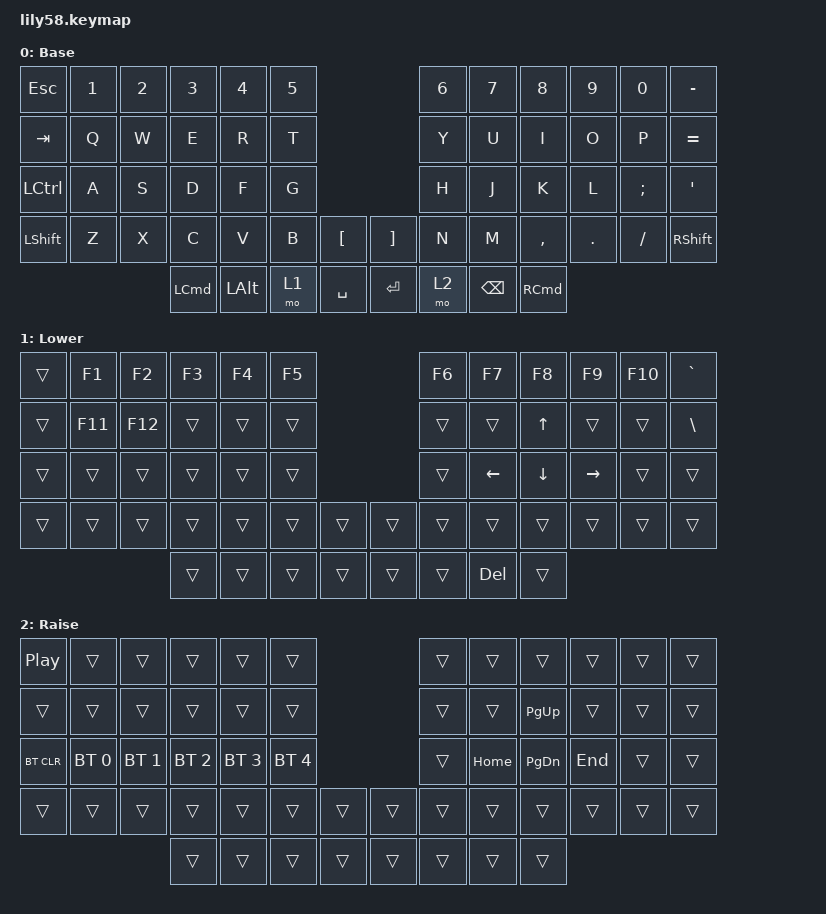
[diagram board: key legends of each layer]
/*
 * Copyright (c) 2020 The ZMK Contributors
 *
 * SPDX-License-Identifier: MIT
 */

#include <behaviors.dtsi>
#include <dt-bindings/zmk/bt.h>
#include <dt-bindings/zmk/keys.h>

/ {
    keymap {
        compatible = "zmk,keymap";

        default_layer {
            // ------------------------------------------------------------------------------------------------------------
            // |  ESC  |  1  |  2  |  3   |  4   |  5   |                   |  6   |  7    |  8    |  9   |   0   |   `   |
            // |  TAB  |  Q  |  W  |  E   |  R   |  T   |                   |  Y   |  U    |  I    |  O   |   P   |   -   |
            // |  CTRL |  A  |  S  |  D   |  F   |  G   |                   |  H   |  J    |  K    |  L   |   ;   |   '   |
            // | SHIFT |  Z  |  X  |  C   |  V   |  B   |   "["  |  |  "]"  |  N   |  M    |  ,    |  .   |   /   | SHIFT |
            //                     | ALT  | GUI  | LOWER|  SPACE |  | ENTER | RAISE| BSPC  | GUI   |

            display-name = "Base";
            bindings = <
&kp ESC         &kp N1  &kp N2  &kp N3            &kp N4        &kp N5                         &kp N6  &kp N7    &kp N8             &kp N9   &kp N0    &kp MINUS
&kp TAB         &kp Q   &kp W   &kp E             &kp R         &kp T                          &kp Y   &kp U     &kp I              &kp O    &kp P     &kp EQUAL
&kp LCTRL       &kp A   &kp S   &kp D             &kp F         &kp G                          &kp H   &kp J     &kp K              &kp L    &kp SEMI  &kp SQT
&kp LEFT_SHIFT  &kp Z   &kp X   &kp C             &kp V         &kp B   &kp LBKT     &kp RBKT  &kp N   &kp M     &kp COMMA          &kp DOT  &kp FSLH  &kp RIGHT_SHIFT
                                &kp LEFT_COMMAND  &kp LEFT_ALT  &mo 1   &kp SPACE    &kp RET   &mo 2   &kp BSPC  &kp RIGHT_COMMAND
            >;
        };

        lower_layer {
            // ------------------------------------------------------------------------------------------------------------
            // | BTCLR | BT1 | BT2 |  BT3 |  BT4 |  BT5 |                   |      |       |       |      |       |       |
            // |  F1   |  F2 |  F3 |  F4  |  F5  |  F6  |                   |  F7  |  F8   |  F9   |  F10 |  F11  |  F12  |
            // |   `   |  !  |  @  |  #   |  $   |  %   |                   |  ^   |  &    |  *    |  (   |   )   |   ~   |
            // |       |     |     |      |      |      |        |  |       |      |  _    |  +    |  {   |   }   |  "|"  |
            //                     |      |      |      |        |  |       |      |       |       |

            display-name = "Lower";
            bindings = <
&trans  &kp F1   &kp F2   &kp F3  &kp F4  &kp F5                    &kp F6  &kp F7      &kp F8    &kp F9     &kp F10  &kp GRAVE
&trans  &kp F11  &kp F12  &trans  &trans  &trans                    &trans  &trans      &kp UP    &trans     &trans   &kp BACKSLASH
&trans  &trans   &trans   &trans  &trans  &trans                    &trans  &kp LEFT    &kp DOWN  &kp RIGHT  &trans   &trans
&trans  &trans   &trans   &trans  &trans  &trans  &trans    &trans  &trans  &trans      &trans    &trans     &trans   &trans
                          &trans  &trans  &trans  &trans    &trans  &trans  &kp DELETE  &trans
            >;
        };

        raise_layer {
            // ------------------------------------------------------------------------------------------------------------
            // |       |     |     |      |      |      |                   |      |       |       |      |       |       |
            // |   `   |  1  |  2  |  3   |  4   |  5   |                   |  6   |   7   |   8   |  9   |   0   |       |
            // |   F1  |  F2 |  F3 |  F4  |  F5  |  F6  |                   |      |   <-  |   v   |  ^   |  ->   |       |
            // |   F7  |  F8 |  F9 |  F10 |  F11 |  F12 |        |  |       |  +   |   -   |   =   |  [   |   ]   |   \   |
            //                     |      |      |      |        |  |       |      |       |       |

            display-name = "Raise";
            bindings = <
&kp C_PLAY_PAUSE  &trans        &trans        &trans        &trans        &trans                          &trans  &trans    &trans         &trans   &trans  &trans
&trans            &trans        &trans        &trans        &trans        &trans                          &trans  &trans    &kp PAGE_UP    &trans   &trans  &trans
&bt BT_CLR        &bt BT_SEL 0  &bt BT_SEL 1  &bt BT_SEL 2  &bt BT_SEL 3  &bt BT_SEL 4                    &trans  &kp HOME  &kp PAGE_DOWN  &kp END  &trans  &trans
&trans            &trans        &trans        &trans        &trans        &trans        &trans    &trans  &trans  &trans    &trans         &trans   &trans  &trans
                                              &trans        &trans        &trans        &trans    &trans  &trans  &trans    &trans
            >;
        };
    };
};
